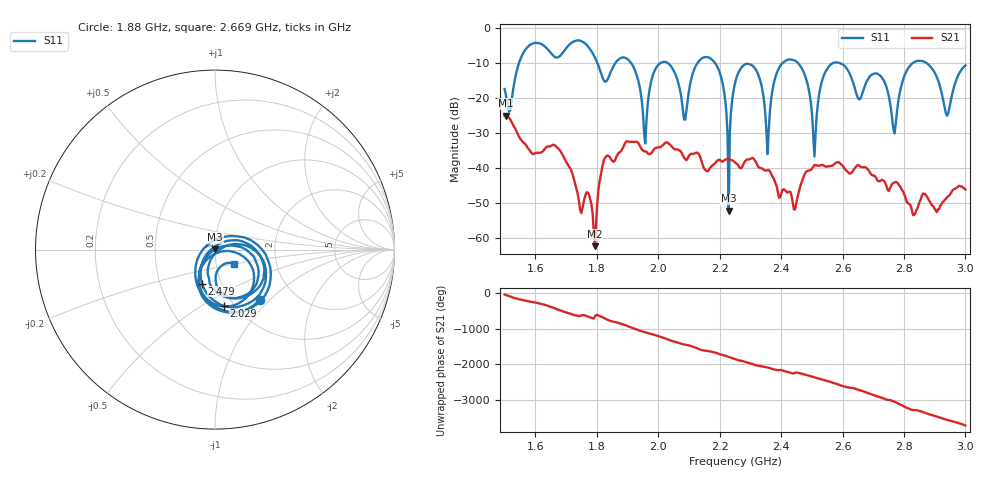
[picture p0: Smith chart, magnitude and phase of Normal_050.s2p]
# HZ S RI R 50
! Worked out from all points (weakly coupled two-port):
!   404 points, 1.5 GHz to 3 GHz, reference 50 ohm
!   highest |S21| = -25.02 dB at 1.504 GHz (marker M1); lowest = -62.3 dB at 1.794 GHz (marker M2)
!   lowest |S11| = -52.1 dB at 2.23 GHz (marker M3), VSWR 1.00, Z = 50.1 + j0.202 ohm
!   |S11| at or under -10 dB: 2.185 GHz to 2.406 GHz (220.9 MHz wide, 9.62 % of centre); 2.589 GHz to 2.829 GHz (239.4 MHz wide, 8.84 % of centre); 2.873 GHz to end of sweep (the widest 3 of 8)
!   S12 and S22 are empty: the file has one direction only
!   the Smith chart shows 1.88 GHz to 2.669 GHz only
!   S11 on the Smith chart (normalised r, x): 1.88 GHz: 1.34, -0.87; 2.029 GHz: 0.90, -0.63; 2.479 GHz: 0.81, -0.32; 2.669 GHz: 1.22, -0.19
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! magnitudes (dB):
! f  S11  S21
! 1.5 GHz  -17.4  -25.1
! 1.504 GHz  -18.9  -25.0
! 1.753 GHz  -3.9  -51.6
! 1.794 GHz  -8.5  -62.3
! 1.88 GHz  -8.5  -35.1
! 1.958 GHz  -33.0  -35.2
! 2.002 GHz  -10.3  -34.1
! 2.029 GHz  -9.9  -32.7
! 2.084 GHz  -26.2  -37.1
! 2.181 GHz  -9.6  -38.9
! 2.23 GHz  -52.1  -37.4
! 2.252 GHz  -15.1  -38.5
! 2.315 GHz  -11.6  -37.9
! 2.356 GHz  -36.0  -40.6
! 2.401 GHz  -10.4  -47.3
! 2.479 GHz  -13.8  -41.4
! 2.501 GHz  -25.2  -40.1
! 2.568 GHz  -10.0  -39.2
! 2.669 GHz  -17.6  -39.7
! 2.751 GHz  -19.5  -46.6
! 2.94 GHz  -25.1  -48.3
! 3 GHz  -10.7  -46.2
